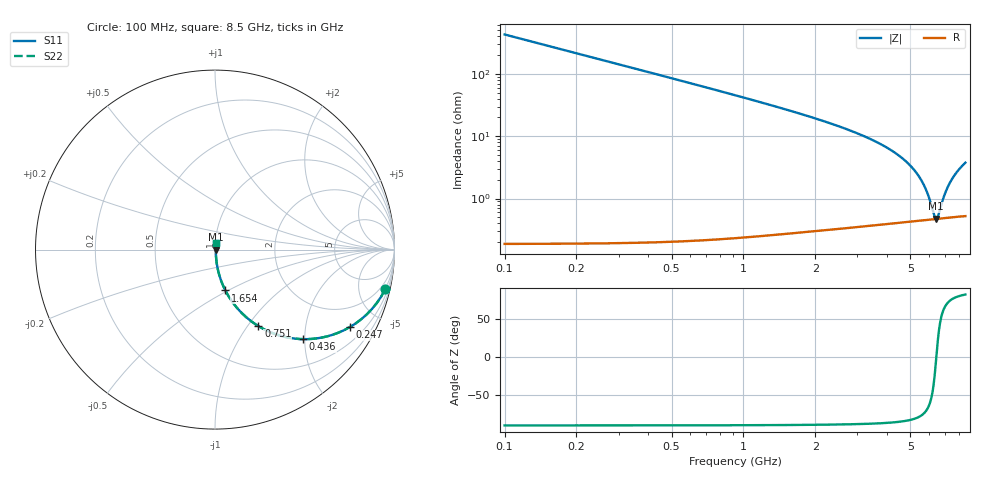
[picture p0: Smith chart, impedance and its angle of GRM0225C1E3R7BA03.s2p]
!Murata Part Number: GRM0225C1E3R7BA03
!These Parameters are Measured in Series Mode Connection
!Data Generated on Mar 30, 2021
!  o--ll--o
!Port1  Port2
!  o------o
!Operation Temp=25[degC], DC Bias Voltage=0[V]
!Freq. Start=100[MHz] Stop=9[GHz] 401[Steps]
# Hz S RI R 50
!Freq.(Hz) S11(Real) S11(Imag) S21(Real) S21(Imag) S12(Real) S12(Imag) S22(Real) S22(Imag)
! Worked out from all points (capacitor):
!   401 points, 100 MHz to 8.5 GHz, reference 50 ohm
!   read as one part in series: C = 3.7 pF near 142 MHz
!   lowest |Z| = 473 mohm at 6.421 GHz (marker M1)
!   series resonance near 6.423 GHz, so ESL is about 170 pH
!   S11 on the Smith chart (normalised r, x): 100 MHz: 1.00, -8.60; 247 MHz: 1.00, -3.48; 436 MHz: 1.00, -1.96; 751 MHz: 1.00, -1.13; 1.654 GHz: 1.01, -0.48; 8.5 GHz: 1.01, +0.07
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1e8  0.9486 -0.2206  0.0514 0.2206  0.0514 0.2206  0.9486 -0.2206
1.84e8  0.8449 -0.3616  0.1551 0.3616  0.1551 0.3616  0.8449 -0.3616
2.47e8  0.7512 -0.4318  0.2488 0.4318  0.2488 0.4318  0.7512 -0.4318
3.31e8  0.6265 -0.483  0.3735 0.483  0.3735 0.483  0.6265 -0.483
4.36e8  0.4907 -0.4989  0.5093 0.4989  0.5093 0.4989  0.4907 -0.4989
5.83e8  0.3488 -0.4752  0.6512 0.4752  0.6512 0.4752  0.3488 -0.4752
7.51e8  0.2424 -0.4266  0.7576 0.4266  0.7576 0.4266  0.2424 -0.4266
1.066e9  0.1345 -0.3381  0.8655 0.3381  0.8655 0.3381  0.1345 -0.3381
1.507e9  0.0696 -0.2494  0.9304 0.2494  0.9304 0.2494  0.0696 -0.2494
1.654e9  0.0576 -0.2273  0.9424 0.2273  0.9424 0.2273  0.0576 -0.2273
2.914e9  0.0167 -0.114  0.9833 0.114  0.9833 0.114  0.0167 -0.114
4.3e9  0.00694 -0.054  0.9931 0.054  0.9931 0.054  0.00694 -0.054
5.119e9  0.0052 -0.03  0.9948 0.03  0.9948 0.03  0.0052 -0.03
5.707e9  0.00473 -0.0155  0.9953 0.0155  0.9953 0.0155  0.00473 -0.0155
5.98e9  0.00466 -0.00935  0.9953 0.00935  0.9953 0.00935  0.00466 -0.00935
6.316e9  0.00468 -0.0022  0.9953 0.0022  0.9953 0.0022  0.00468 -0.0022
6.421e9  0.00471 -4.21e-05  0.9953 4.21e-05  0.9953 4.21e-05  0.00471 -4.21e-05
6.526e9  0.00474 0.00208  0.9953 -0.00208  0.9953 -0.00208  0.00474 0.00208
6.862e9  0.0049 0.00863  0.9951 -0.00863  0.9951 -0.00863  0.0049 0.00863
7.114e9  0.00507 0.0133  0.9949 -0.0133  0.9949 -0.0133  0.00507 0.0133
7.702e9  0.0056 0.0238  0.9944 -0.0238  0.9944 -0.0238  0.0056 0.0238
8.5e9  0.00657 0.0368  0.9934 -0.0368  0.9934 -0.0368  0.00657 0.0368
